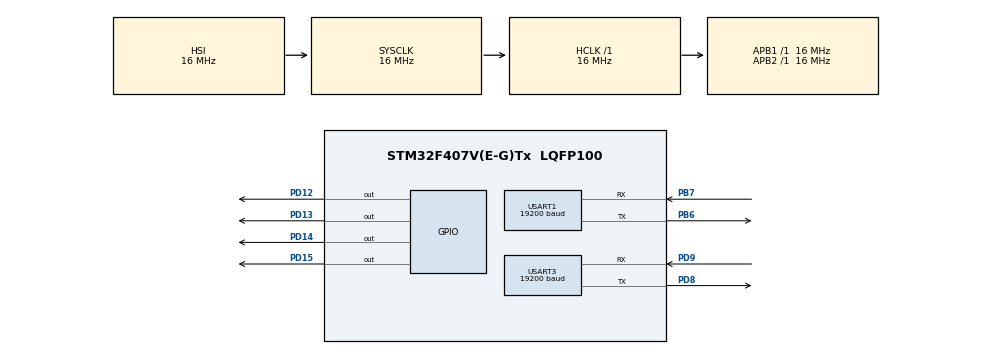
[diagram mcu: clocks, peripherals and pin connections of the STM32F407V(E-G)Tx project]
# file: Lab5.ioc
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Mcu.Family=STM32F4
Mcu.Name=STM32F407V(E-G)Tx
Mcu.Package=LQFP100
NVIC.PriorityGroup=NVIC_PRIORITYGROUP_4
PB6.Mode=Asynchronous
PB6.Signal=USART1_TX
PB7.Mode=Asynchronous
PB7.Signal=USART1_RX
PD12.Signal=GPIO_Output
PD13.Signal=GPIO_Output
PD14.Signal=GPIO_Output
PD15.Signal=GPIO_Output
PD8.Mode=Asynchronous
PD8.Signal=USART3_TX
PD9.Mode=Asynchronous
PD9.Signal=USART3_RX
ProjectManager.HeapSize=0x200
ProjectManager.StackSize=0x400
ProjectManager.TargetToolchain=STM32CubeIDE
RCC.AHBFreq_Value=16000000
RCC.APB1Freq_Value=16000000
RCC.APB2Freq_Value=16000000
RCC.CortexFreq_Value=16000000
RCC.HSE_VALUE=25000000
RCC.HSI_VALUE=16000000
RCC.LSE_VALUE=32768
RCC.SYSCLKFreq_VALUE=16000000
RCC.VCOOutputFreq_Value=192000000
USART1.BaudRate=19200
USART1.VirtualMode=VM_ASYNC
USART3.BaudRate=19200
USART3.VirtualMode=VM_ASYNC
board=custom

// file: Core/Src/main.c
/* USER CODE BEGIN Header */
/**
  ******************************************************************************
  * @file           : main.c
  * @brief          : Main program body
  ******************************************************************************
  * @attention
  *
  * Copyright (c) 2023 STMicroelectronics.
  * All rights reserved.
  *
  * This software is licensed under terms that can be found in the LICENSE file
  * in the root directory of this software component.
  * If no LICENSE file comes with this software, it is provided AS-IS.
  *
  ******************************************************************************
  */
/* USER CODE END Header */
#include "main.h"

UART_HandleTypeDef huart1;
UART_HandleTypeDef huart3;

void SystemClock_Config(void);
static void MX_GPIO_Init(void);
static void MX_USART1_UART_Init(void);
static void MX_USART3_UART_Init(void);

int main(void)
{

  /* MCU Configuration--------------------------------------------------------*/

  /* Reset of all peripherals, Initializes the Flash interface and the Systick. */
  HAL_Init();

  /* Configure the system clock */
  SystemClock_Config();

  /* Initialize all configured peripherals */
  MX_GPIO_Init();
  MX_USART1_UART_Init();
  MX_USART3_UART_Init();

  /* Infinite loop */
  /* USER CODE BEGIN WHILE */
  while (1)
  {
	  uint8_t rcvBuf[1];

	  HAL_StatusTypeDef result;

	  result = HAL_UART_Receive(&huart3, rcvBuf, 1, 100);
	  if (result == HAL_OK) {
		 switch(rcvBuf[0]){
		 	 case '1':
		 		 HAL_GPIO_TogglePin(GPIOD, GPIO_PIN_15);
		 		 HAL_UART_Transmit(&huart3, (uint8_t *)"Led 15 toggled \r\n", 17, 100);
		 		 break;
		 	 case '2':
		 		 HAL_GPIO_TogglePin(GPIOD, GPIO_PIN_14);
		 		 HAL_UART_Transmit(&huart3, (uint8_t *)"Led 14 toggled \r\n", 17, 100);
		 		 break;
		 	 case '3':
		 		 HAL_GPIO_TogglePin(GPIOD, GPIO_PIN_13);
		 		 HAL_UART_Transmit(&huart3, (uint8_t *)"Led 13 toggled \r\n", 17, 100);
		 		 break;
		 	 case '4':
		 		 HAL_GPIO_TogglePin(GPIOD, GPIO_PIN_12);
		 		 HAL_UART_Transmit(&huart3, (uint8_t *)"Led 12 toggled \r\n", 17, 100);
		 		break;
		 	 case 'q':
		 		 HAL_GPIO_WritePin(GPIOD, GPIO_PIN_12, GPIO_PIN_SET);
		 		 HAL_GPIO_WritePin(GPIOD, GPIO_PIN_13, GPIO_PIN_SET);
		 		 HAL_GPIO_WritePin(GPIOD, GPIO_PIN_14, GPIO_PIN_SET);
		 		 HAL_GPIO_WritePin(GPIOD, GPIO_PIN_15, GPIO_PIN_SET);
		 		 HAL_UART_Transmit(&huart3, (uint8_t *)"Leds is lightened up\r\n", 22, 100);
		 		 break;
		 	 case 'w':
		 		 HAL_GPIO_WritePin(GPIOD, GPIO_PIN_12, GPIO_PIN_RESET);
		 		 HAL_GPIO_WritePin(GPIOD, GPIO_PIN_13, GPIO_PIN_RESET);
		 		 HAL_GPIO_WritePin(GPIOD, GPIO_PIN_14, GPIO_PIN_RESET);
		 		 HAL_GPIO_WritePin(GPIOD, GPIO_PIN_15, GPIO_PIN_RESET);
		 		 HAL_UART_Transmit(&huart3, (uint8_t *)"Leds is turned off \r\n", 21, 100);
		 		 break;
		 	 default:
		 		 HAL_UART_Transmit(&huart3, (uint8_t *)"Invalid key \r\n", 14, 100);
		 		 break;
		 }
	  }

    /* USER CODE END WHILE */

  }
}

void SystemClock_Config(void)
{
  RCC_OscInitTypeDef RCC_OscInitStruct = {0};
  RCC_ClkInitTypeDef RCC_ClkInitStruct = {0};

  /** Configure the main internal regulator output voltage
  */
  __HAL_RCC_PWR_CLK_ENABLE();
  __HAL_PWR_VOLTAGESCALING_CONFIG(PWR_REGULATOR_VOLTAGE_SCALE1);

  /** Initializes the RCC Oscillators according to the specified parameters
  * in the RCC_OscInitTypeDef structure.
  */
  RCC_OscInitStruct.OscillatorType = RCC_OSCILLATORTYPE_HSI;
  RCC_OscInitStruct.HSIState = RCC_HSI_ON;
  RCC_OscInitStruct.HSICalibrationValue = RCC_HSICALIBRATION_DEFAULT;
  RCC_OscInitStruct.PLL.PLLState = RCC_PLL_NONE;
  if (HAL_RCC_OscConfig(&RCC_OscInitStruct) != HAL_OK)
  {
    Error_Handler();
  }

  /** Initializes the CPU, AHB and APB buses clocks
  */
  RCC_ClkInitStruct.ClockType = RCC_CLOCKTYPE_HCLK|RCC_CLOCKTYPE_SYSCLK
                              |RCC_CLOCKTYPE_PCLK1|RCC_CLOCKTYPE_PCLK2;
  RCC_ClkInitStruct.SYSCLKSource = RCC_SYSCLKSOURCE_HSI;
  RCC_ClkInitStruct.AHBCLKDivider = RCC_SYSCLK_DIV1;
  RCC_ClkInitStruct.APB1CLKDivider = RCC_HCLK_DIV1;
  RCC_ClkInitStruct.APB2CLKDivider = RCC_HCLK_DIV1;

  if (HAL_RCC_ClockConfig(&RCC_ClkInitStruct, FLASH_LATENCY_0) != HAL_OK)
  {
    Error_Handler();
  }
}

static void MX_USART1_UART_Init(void)
{

  huart1.Instance = USART1;
  huart1.Init.BaudRate = 19200;
  huart1.Init.WordLength = UART_WORDLENGTH_8B;
  huart1.Init.StopBits = UART_STOPBITS_1;
  huart1.Init.Parity = UART_PARITY_NONE;
  huart1.Init.Mode = UART_MODE_TX_RX;
  huart1.Init.HwFlowCtl = UART_HWCONTROL_NONE;
  huart1.Init.OverSampling = UART_OVERSAMPLING_16;
  if (HAL_UART_Init(&huart1) != HAL_OK)
  {
    Error_Handler();
  }

}

static void MX_USART3_UART_Init(void)
{

  huart3.Instance = USART3;
  huart3.Init.BaudRate = 19200;
  huart3.Init.WordLength = UART_WORDLENGTH_8B;
  huart3.Init.StopBits = UART_STOPBITS_1;
  huart3.Init.Parity = UART_PARITY_NONE;
  huart3.Init.Mode = UART_MODE_TX_RX;
  huart3.Init.HwFlowCtl = UART_HWCONTROL_NONE;
  huart3.Init.OverSampling = UART_OVERSAMPLING_16;
  if (HAL_UART_Init(&huart3) != HAL_OK)
  {
    Error_Handler();
  }

}

static void MX_GPIO_Init(void)
{
  GPIO_InitTypeDef GPIO_InitStruct = {0};

  /* GPIO Ports Clock Enable */
  __HAL_RCC_GPIOD_CLK_ENABLE();
  __HAL_RCC_GPIOB_CLK_ENABLE();

  /*Configure GPIO pin Output Level */
  HAL_GPIO_WritePin(GPIOD, GPIO_PIN_12|GPIO_PIN_13|GPIO_PIN_14|GPIO_PIN_15, GPIO_PIN_RESET);

  /*Configure GPIO pins : PD12 PD13 PD14 PD15 */
  GPIO_InitStruct.Pin = GPIO_PIN_12|GPIO_PIN_13|GPIO_PIN_14|GPIO_PIN_15;
  GPIO_InitStruct.Mode = GPIO_MODE_OUTPUT_PP;
  GPIO_InitStruct.Pull = GPIO_NOPULL;
  GPIO_InitStruct.Speed = GPIO_SPEED_FREQ_LOW;
  HAL_GPIO_Init(GPIOD, &GPIO_InitStruct);

}

void Error_Handler(void)
{
  __disable_irq();
  while (1)
  {
  }
}
